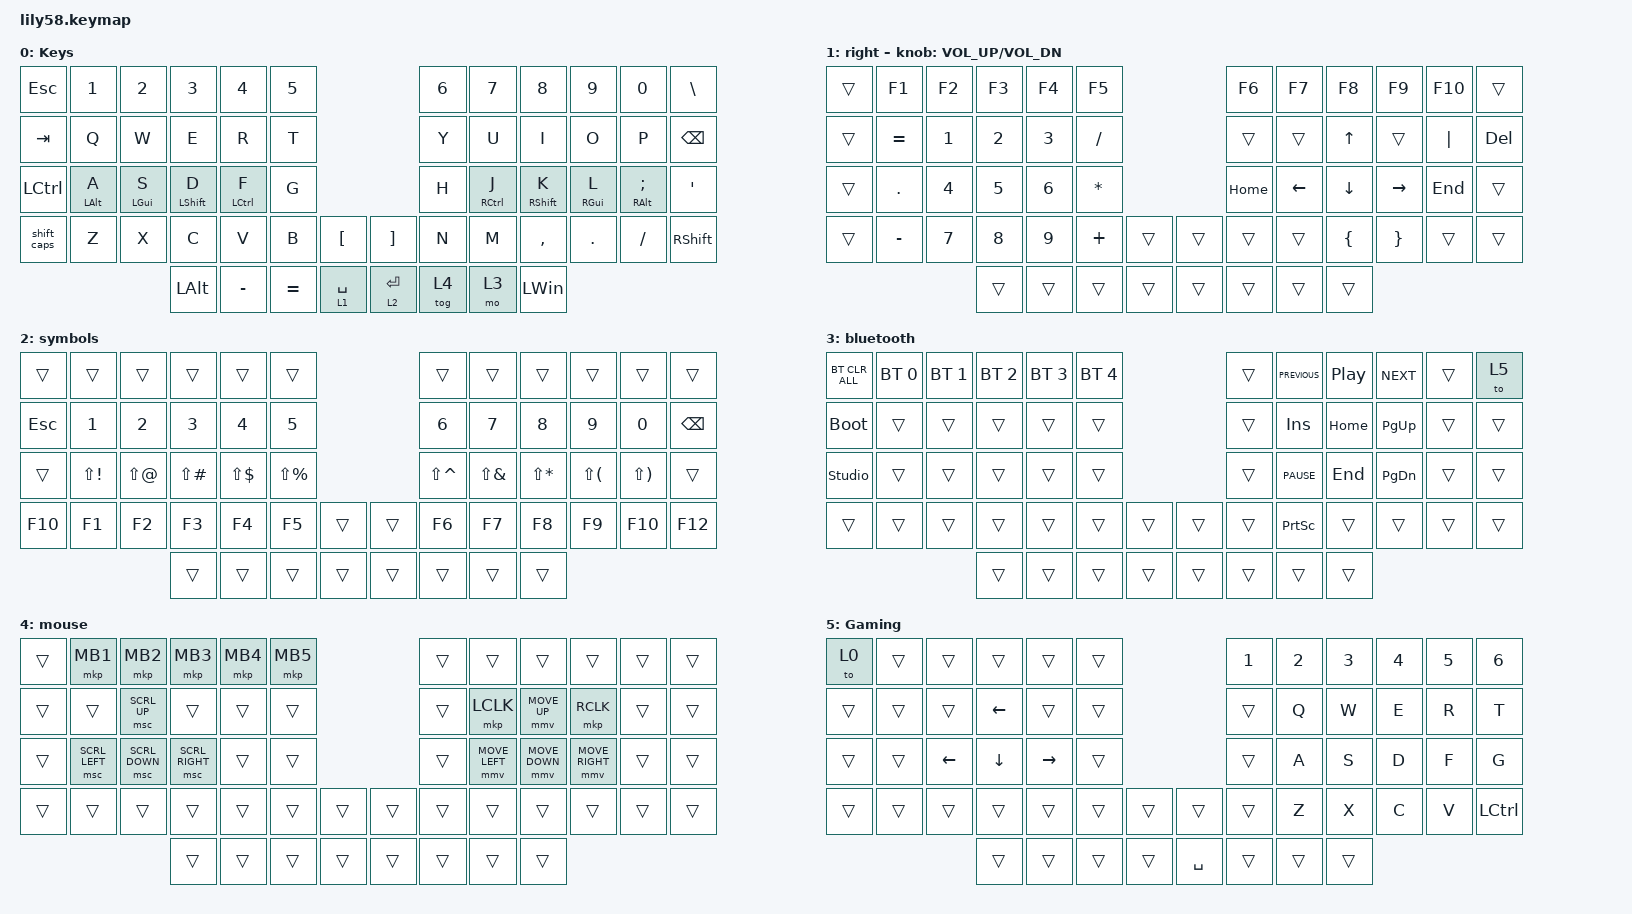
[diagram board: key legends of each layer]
/*
 * Copyright (c) 2020 The ZMK Contributors
 *
 * SPDX-License-Identifier: MIT
 */

#define ZMK_POINTING_DEFAULT_MOVE_VAL 1500  // default: 600
#define ZMK_POINTING_DEFAULT_SCRL_VAL 20    // default: 10

#include <behaviors.dtsi>
#include <dt-bindings/zmk/bt.h>
#include <dt-bindings/zmk/keys.h>
#include <dt-bindings/zmk/pointing.h>

/ {
    behaviors {
        shift_caps: shift_caps {
            compatible = "zmk,behavior-tap-dance";
            label = "SHIFT_CAPS";
            #binding-cells = <0>;
            bindings = <&kp LEFT_SHIFT>, <&kp CAPS>;
        };

        hrm: home_row_mods {
            compatible = "zmk,behavior-hold-tap";
            label = "HRM";
            #binding-cells = <2>;
            tapping-term-ms = <230>;
            quick-tap-ms = <0>;
            flavor = "tap-preferred";
            bindings = <&kp>, <&kp>;

            hold-trigger-key-positions = <1 2 3 4 7 8 9 10>;
        };
    };

    keymap {
        compatible = "zmk,keymap";

        default_layer {
            // ------------------------------------------------------------------------------------------------------------
            // |  ESC  |  1  |  2  |  3   |  4   |  5   |                   |  6   |  7    |  8    |  9   |   0   |   `   |
            // |  TAB  |  Q  |  W  |  E   |  R   |  T   |                   |  Y   |  U    |  I    |  O   |   P   |   -   |
            // |  CTRL |  A  |  S  |  D   |  F   |  G   |                   |  H   |  J    |  K    |  L   |   ;   |   '   |
            // | SHIFT |  Z  |  X  |  C   |  V   |  B   |   "["  |  |  "]"  |  N   |  M    |  ,    |  .   |   /   | SHIFT |
            //                     | ALT  | GUI  | LOWER|  SPACE |  | ENTER | RAISE| BSPC  | GUI   |

            display-name = "Keys";
            bindings = <
&kp ESC      &kp N1           &kp N2           &kp N3             &kp N4        &kp N5                                 &kp N6  &kp N7        &kp N8              &kp N9            &kp N0               &kp BACKSLASH
&kp TAB      &kp Q            &kp W            &kp E              &kp R         &kp T                                  &kp Y   &kp U         &kp I               &kp O             &kp P                &kp BACKSPACE
&kp LCTRL    &hrm LEFT_ALT A  &hrm LEFT_GUI S  &hrm LEFT_SHIFT D  &hrm LCTRL F  &kp G                                  &kp H   &hrm RCTRL J  &hrm RIGHT_SHIFT K  &hrm RIGHT_GUI L  &hrm RIGHT_ALT SEMI  &kp SINGLE_QUOTE
&shift_caps  &kp Z            &kp X            &kp C              &kp V         &kp B      &kp LBKT       &kp RBKT     &kp N   &kp M         &kp COMMA           &kp DOT           &kp FSLH             &kp RIGHT_SHIFT
                                               &kp LALT           &kp MINUS     &kp EQUAL  &lt 1 SPACE    &lt 2 ENTER  &tog 4  &mo 3         &kp LEFT_WIN
            >;

            label = "base";
        };

        arrow_layer {
            // ------------------------------------------------------------------------------------------------------------
            // |       |     |     |      |      |      |                   |      |       |       |      |       |       |
            // |   `   |  1  |  2  |  3   |  4   |  5   |                   |  6   |   7   |   8   |  9   |   0   |       |
            // |   F1  |  F2 |  F3 |  F4  |  F5  |  F6  |                   |      |   <-  |   v   |  ^   |  ->   |       |
            // |   F7  |  F8 |  F9 |  F10 |  F11 |  F12 |        |  |       |  +   |   -   |   =   |  [   |   ]   |   \   |
            //                     |      |      |      |        |  |       |      |       |       |

            display-name = "right";
            bindings = <
&trans  &kp F1      &kp F2        &kp F3        &kp F4        &kp F5                          &kp F6    &kp F7    &kp F8          &kp F9           &kp F10   &trans
&trans  &kp EQUAL   &kp NUMBER_1  &kp NUMBER_2  &kp NUMBER_3  &kp SLASH                       &trans    &trans    &kp UP_ARROW    &trans           &kp PIPE  &kp DELETE
&trans  &kp PERIOD  &kp NUMBER_4  &kp N5        &kp NUMBER_6  &kp ASTERISK                    &kp HOME  &kp LEFT  &kp DOWN        &kp RIGHT        &kp END   &trans
&trans  &kp MINUS   &kp N7        &kp N8        &kp N9        &kp PLUS      &trans    &trans  &trans    &trans    &kp LEFT_BRACE  &kp RIGHT_BRACE  &trans    &trans
                                  &trans        &trans        &trans        &trans    &trans  &trans    &trans    &trans
            >;

            sensor-bindings = <&inc_dec_kp C_VOL_UP C_VOL_DN>;
            label = "arrows";
        };

        symbol_layer {
            bindings = <
&trans   &trans        &trans      &trans         &trans        &trans                           &trans         &trans        &trans        &trans        &trans        &trans
&kp ESC  &kp N1        &kp N2      &kp N3         &kp N4        &kp N5                           &kp N6         &kp N7        &kp N8        &kp N9        &kp N0        &kp BSPC
&trans   &kp LS(EXCL)  &kp LS(AT)  &kp LS(POUND)  &kp LS(DLLR)  &kp LS(PRCNT)                    &kp LS(CARET)  &kp LS(AMPS)  &kp LS(STAR)  &kp LS(LPAR)  &kp LS(RPAR)  &trans
&kp F10  &kp F1        &kp F2      &kp F3         &kp F4        &kp F5         &trans    &trans  &kp F6         &kp F7        &kp F8        &kp F9        &kp F10       &kp F12
                                   &trans         &trans        &trans         &trans    &trans  &trans         &trans        &trans
            >;

            label = "symbols";
        };

        bluetooth_layer {
            bindings = <
&bt BT_CLR_ALL  &bt BT_SEL 0  &bt BT_SEL 1  &bt BT_SEL 2  &bt BT_SEL 3  &bt BT_SEL 4                    &trans  &kp C_PREVIOUS   &kp C_PLAY_PAUSE  &kp C_NEXT     &trans  &to 5
&bootloader     &trans        &trans        &trans        &trans        &trans                          &trans  &kp INSERT       &kp HOME          &kp PAGE_UP    &trans  &trans
&studio_unlock  &trans        &trans        &trans        &trans        &trans                          &trans  &kp C_PAUSE      &kp END           &kp PAGE_DOWN  &trans  &trans
&trans          &trans        &trans        &trans        &trans        &trans        &trans    &trans  &trans  &kp PRINTSCREEN  &trans            &trans         &trans  &trans
                                            &trans        &trans        &trans        &trans    &trans  &trans  &trans           &trans
            >;

            label = "bluetooth";
        };

        mouse_layer {
            bindings = <
&trans  &mkp MB1        &mkp MB2        &mkp MB3         &mkp MB4  &mkp MB5                    &trans  &trans          &trans          &trans           &trans  &trans
&trans  &trans          &msc SCRL_UP    &trans           &trans    &trans                      &trans  &mkp LCLK       &mmv MOVE_UP    &mkp RCLK        &trans  &trans
&trans  &msc SCRL_LEFT  &msc SCRL_DOWN  &msc SCRL_RIGHT  &trans    &trans                      &trans  &mmv MOVE_LEFT  &mmv MOVE_DOWN  &mmv MOVE_RIGHT  &trans  &trans
&trans  &trans          &trans          &trans           &trans    &trans    &trans    &trans  &trans  &trans          &trans          &trans           &trans  &trans
                                        &trans           &trans    &trans    &trans    &trans  &trans  &trans          &trans
            >;

            label = "mouse";
        };

        Gaming {
            bindings = <
&to 0   &trans  &trans          &trans          &trans           &trans                       &kp N1  &kp N2  &kp N3  &kp N4  &kp N5  &kp N6
&trans  &trans  &trans          &kp LEFT_ARROW  &trans           &trans                       &trans  &kp Q   &kp W   &kp E   &kp R   &kp T
&trans  &trans  &kp LEFT_ARROW  &kp DOWN_ARROW  &kp RIGHT_ARROW  &trans                       &trans  &kp A   &kp S   &kp D   &kp F   &kp G
&trans  &trans  &trans          &trans          &trans           &trans  &trans    &trans     &trans  &kp Z   &kp X   &kp C   &kp V   &kp LCTRL
                                &trans          &trans           &trans  &trans    &kp SPACE  &trans  &trans  &trans
            >;

            label = "Gaming";
        };
    };
};
